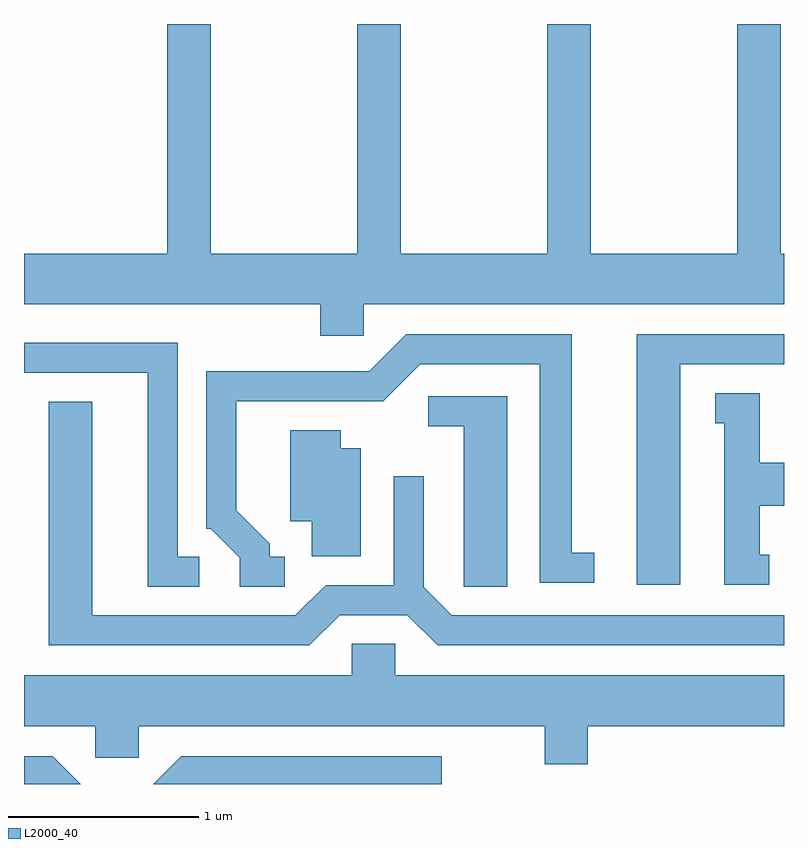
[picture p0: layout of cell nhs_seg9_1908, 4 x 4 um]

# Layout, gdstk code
import gdstk
lib = gdstk.Library(unit=1e-6, precision=1e-09)
def P(c, l, *ps):  # polygons
    for p in ps: c.add(gdstk.Polygon(p, *l))
L2000_40 = (2000, 40)

nhs_seg9_1908 = lib.new_cell('nhs_seg9_1908')
P(nhs_seg9_1908, L2000_40, [(243.399,1962.956),(245.611,1962.956),(245.611,1963.224),(245.594,1963.224),(245.594,1964.432),(245.366,1964.432),(245.366,1963.224),(244.594,1963.224),(244.594,1964.432),(244.366,1964.432),(244.366,1963.224),(243.594,1963.224),(243.594,1964.432),(243.366,1964.432),(243.366,1963.224),(242.594,1963.224),(242.594,1964.432),(242.366,1964.432),(242.366,1963.224),(241.611,1963.224),(241.611,1962.956),(243.171,1962.956),(243.171,1962.791),(243.399,1962.791)],
  [(242.983,1961.629),(242.904,1961.629),(242.904,1961.697),(242.729,1961.872),(242.729,1962.446),(243.502,1962.446),(243.697,1962.641),(244.326,1962.641),(244.326,1961.491),(244.613,1961.491),(244.613,1961.649),(244.494,1961.649),(244.494,1962.799),(243.624,1962.799),(243.429,1962.604),(242.571,1962.604),(242.571,1961.776),(242.594,1961.776),(242.746,1961.624),(242.746,1961.471),(242.983,1961.471)],
  [(245.064,1962.641),(245.611,1962.641),(245.611,1962.799),(244.836,1962.799),(244.836,1961.481),(245.064,1961.481)],
  [(242.533,1961.629),(242.419,1961.629),(242.419,1962.754),(241.611,1962.754),(241.611,1962.596),(242.261,1962.596),(242.261,1961.471),(242.533,1961.471)],
  [(245.533,1961.639),(245.484,1961.639),(245.484,1961.896),(245.611,1961.896),(245.611,1962.124),(245.484,1962.124),(245.484,1962.489),(245.248,1962.489),(245.248,1962.331),(245.296,1962.331),(245.296,1961.481),(245.533,1961.481)],
  [(244.154,1962.474),(243.738,1962.474),(243.738,1962.316),(243.926,1962.316),(243.926,1961.471),(244.154,1961.471)],
  [(243.272,1961.321),(243.629,1961.321),(243.789,1961.161),(245.611,1961.161),(245.611,1961.319),(243.862,1961.319),(243.714,1961.467),(243.714,1962.053),(243.556,1962.053),(243.556,1961.479),(243.199,1961.479),(243.039,1961.319),(241.969,1961.319),(241.969,1962.444),(241.741,1962.444),(241.741,1961.161),(243.112,1961.161)],
  [(243.384,1962.199),(243.279,1962.199),(243.279,1962.294),(243.011,1962.294),(243.011,1961.816),(243.126,1961.816),(243.126,1961.631),(243.384,1961.631)],
  [(244.579,1960.736),(245.611,1960.736),(245.611,1961.004),(243.564,1961.004),(243.564,1961.169),(243.336,1961.169),(243.336,1961.004),(241.611,1961.004),(241.611,1960.736),(241.986,1960.736),(241.986,1960.571),(242.214,1960.571),(242.214,1960.736),(244.351,1960.736),(244.351,1960.536),(244.579,1960.536)],
  [(243.809,1960.579),(242.439,1960.579),(242.292,1960.432),(243.809,1960.432)],
  [(241.762,1960.579),(241.611,1960.579),(241.611,1960.432),(241.909,1960.432)])

lib.write_gds('nhs_seg9_1908.gds')
